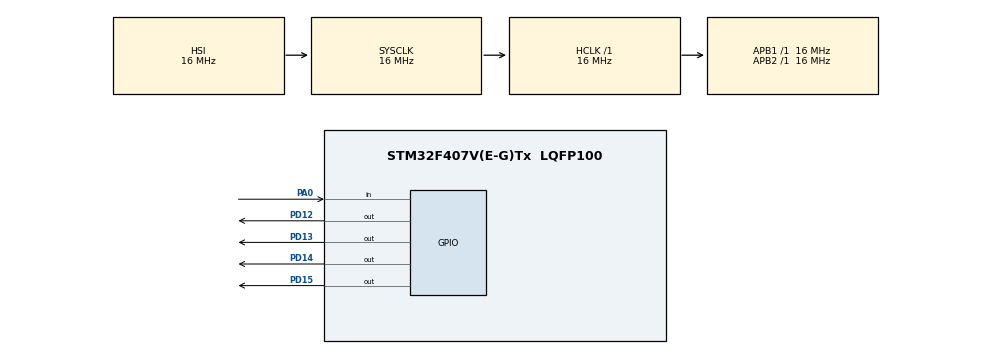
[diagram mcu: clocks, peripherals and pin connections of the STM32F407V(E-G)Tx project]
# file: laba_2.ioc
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Mcu.Family=STM32F4
Mcu.Name=STM32F407V(E-G)Tx
Mcu.Package=LQFP100
NVIC.PriorityGroup=NVIC_PRIORITYGROUP_4
PA0-WKUP.Signal=GPIO_Input
PD12.Signal=GPIO_Output
PD13.Signal=GPIO_Output
PD14.Signal=GPIO_Output
PD15.Signal=GPIO_Output
ProjectManager.HeapSize=0x200
ProjectManager.StackSize=0x400
ProjectManager.TargetToolchain=STM32CubeIDE
RCC.AHBFreq_Value=16000000
RCC.APB1Freq_Value=16000000
RCC.APB2Freq_Value=16000000
RCC.CortexFreq_Value=16000000
RCC.HSE_VALUE=25000000
RCC.HSI_VALUE=16000000
RCC.LSE_VALUE=32768
RCC.SYSCLKFreq_VALUE=16000000
RCC.VCOOutputFreq_Value=192000000
board=custom

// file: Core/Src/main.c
/* USER CODE BEGIN Header */
/**
  ******************************************************************************
  * @file           : main.c
  * @brief          : Main program body
  ******************************************************************************
  * @attention
  *
  * Copyright (c) 2024 STMicroelectronics.
  * All rights reserved.
  *
  * This software is licensed under terms that can be found in the LICENSE file
  * in the root directory of this software component.
  * If no LICENSE file comes with this software, it is provided AS-IS.
  *
  ******************************************************************************
  */
/* USER CODE END Header */
#include "main.h"

void SystemClock_Config(void);
static void MX_GPIO_Init(void);

/* USER CODE BEGIN 0 */
void turn_off_leds(void)
{
    GPIOD->ODR &= ~((1 << 12) | (1 << 13) | (1 << 14) | (1 << 15));
}

void turn_on_led(uint8_t led_index)
{
    GPIOD->ODR |= (1 << (12 + led_index));
}

uint8_t is_button_pressed(void)
{
    return (GPIOA->IDR & GPIO_IDR_ID0) != 0;
}
/* USER CODE END 0 */

int main(void)
{

  /* MCU Configuration--------------------------------------------------------*/

  /* Reset of all peripherals, Initializes the Flash interface and the Systick. */
  //HAL_Init();

  /* Configure the system clock */
  SystemClock_Config();

  /* Initialize all configured peripherals */
  MX_GPIO_Init();
  /* USER CODE BEGIN 2 */
	uint32_t i;
	uint32_t j;

	RCC->AHB1ENR |= RCC_AHB1ENR_GPIODEN;

	GPIOD->MODER |= (1 << (12 * 2)) | (1 << (13 * 2)) | (1 << (14 * 2)) | (1 << (15 * 2));
	GPIOA->MODER &= ~(3 << (0 * 2));
	GPIOD->OTYPER = 0;
	GPIOD->OSPEEDR = 0;
  /* USER CODE END 2 */

  /* Infinite loop */
  while (1)
  {

    /* USER CODE BEGIN 3 */
	  if (is_button_pressed())
	  {
		  for (i = 0; i < 4; i++)
		  {
			  turn_off_leds();
			  turn_on_led(i);
			  for (j = 0; j < 50000; j++);
		  }
	  }
  }
  /* USER CODE END 3 */
}

void SystemClock_Config(void)
{
  RCC_OscInitTypeDef RCC_OscInitStruct = {0};
  RCC_ClkInitTypeDef RCC_ClkInitStruct = {0};

  /** Configure the main internal regulator output voltage
  */
  __HAL_RCC_PWR_CLK_ENABLE();
  __HAL_PWR_VOLTAGESCALING_CONFIG(PWR_REGULATOR_VOLTAGE_SCALE1);

  /** Initializes the RCC Oscillators according to the specified parameters
  * in the RCC_OscInitTypeDef structure.
  */
  RCC_OscInitStruct.OscillatorType = RCC_OSCILLATORTYPE_HSI;
  RCC_OscInitStruct.HSIState = RCC_HSI_ON;
  RCC_OscInitStruct.HSICalibrationValue = RCC_HSICALIBRATION_DEFAULT;
  RCC_OscInitStruct.PLL.PLLState = RCC_PLL_NONE;
  if (HAL_RCC_OscConfig(&RCC_OscInitStruct) != HAL_OK)
  {
    Error_Handler();
  }

  /** Initializes the CPU, AHB and APB buses clocks
  */
  RCC_ClkInitStruct.ClockType = RCC_CLOCKTYPE_HCLK|RCC_CLOCKTYPE_SYSCLK
                              |RCC_CLOCKTYPE_PCLK1|RCC_CLOCKTYPE_PCLK2;
  RCC_ClkInitStruct.SYSCLKSource = RCC_SYSCLKSOURCE_HSI;
  RCC_ClkInitStruct.AHBCLKDivider = RCC_SYSCLK_DIV1;
  RCC_ClkInitStruct.APB1CLKDivider = RCC_HCLK_DIV1;
  RCC_ClkInitStruct.APB2CLKDivider = RCC_HCLK_DIV1;

  if (HAL_RCC_ClockConfig(&RCC_ClkInitStruct, FLASH_LATENCY_0) != HAL_OK)
  {
    Error_Handler();
  }
}

static void MX_GPIO_Init(void)
{
  GPIO_InitTypeDef GPIO_InitStruct = {0};

  /* GPIO Ports Clock Enable */
  __HAL_RCC_GPIOA_CLK_ENABLE();
  __HAL_RCC_GPIOD_CLK_ENABLE();

  /*Configure GPIO pin Output Level */
  HAL_GPIO_WritePin(GPIOD, GPIO_PIN_12|GPIO_PIN_13|GPIO_PIN_14|GPIO_PIN_15, GPIO_PIN_RESET);

  /*Configure GPIO pin : PA0 */
  GPIO_InitStruct.Pin = GPIO_PIN_0;
  GPIO_InitStruct.Mode = GPIO_MODE_INPUT;
  GPIO_InitStruct.Pull = GPIO_NOPULL;
  HAL_GPIO_Init(GPIOA, &GPIO_InitStruct);

  /*Configure GPIO pins : PD12 PD13 PD14 PD15 */
  GPIO_InitStruct.Pin = GPIO_PIN_12|GPIO_PIN_13|GPIO_PIN_14|GPIO_PIN_15;
  GPIO_InitStruct.Mode = GPIO_MODE_OUTPUT_PP;
  GPIO_InitStruct.Pull = GPIO_NOPULL;
  GPIO_InitStruct.Speed = GPIO_SPEED_FREQ_LOW;
  HAL_GPIO_Init(GPIOD, &GPIO_InitStruct);

}

void Error_Handler(void)
{
  __disable_irq();
  while (1)
  {
  }
}
